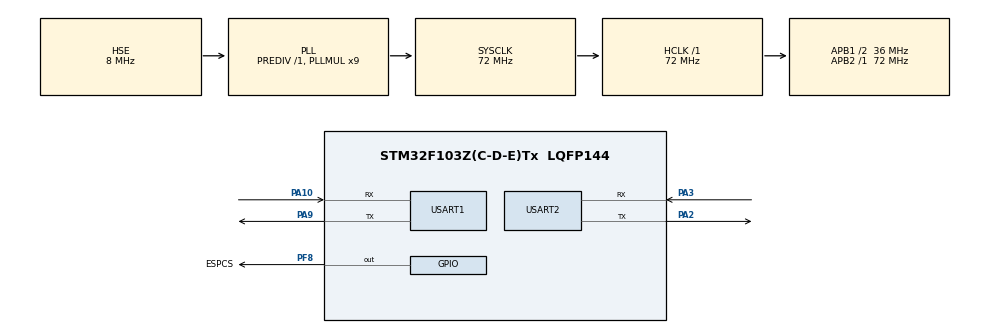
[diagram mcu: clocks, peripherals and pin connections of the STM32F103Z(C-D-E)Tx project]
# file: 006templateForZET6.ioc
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Mcu.Family=STM32F1
Mcu.Name=STM32F103Z(C-D-E)Tx
Mcu.Package=LQFP144
NVIC.PriorityGroup=NVIC_PRIORITYGROUP_4
NVIC.USART2_IRQn=true\:0\:0\:false\:false\:true\:true\:true\:true
OSC_IN.Mode=HSE-External-Oscillator
OSC_IN.Signal=RCC_OSC_IN
OSC_OUT.Mode=HSE-External-Oscillator
OSC_OUT.Signal=RCC_OSC_OUT
PA10.Mode=Asynchronous
PA10.Signal=USART1_RX
PA13.Mode=Serial_Wire
PA13.Signal=SYS_JTMS-SWDIO
PA14.Mode=Serial_Wire
PA14.Signal=SYS_JTCK-SWCLK
PA2.Mode=Asynchronous
PA2.Signal=USART2_TX
PA3.Mode=Asynchronous
PA3.Signal=USART2_RX
PA9.Mode=Asynchronous
PA9.Signal=USART1_TX
PC14-OSC32_IN.Mode=LSE-External-Oscillator
PC14-OSC32_IN.Signal=RCC_OSC32_IN
PC15-OSC32_OUT.Mode=LSE-External-Oscillator
PC15-OSC32_OUT.Signal=RCC_OSC32_OUT
PF8.GPIO_Label=ESPCS
PF8.GPIO_PuPd=GPIO_PULLUP
PF8.PinState=GPIO_PIN_SET
PF8.Signal=GPIO_Output
ProjectManager.HeapSize=0x200
ProjectManager.StackSize=0x400
ProjectManager.TargetToolchain=MDK-ARM V5.32
RCC.AHBFreq_Value=72000000
RCC.APB1CLKDivider=RCC_HCLK_DIV2
RCC.APB1Freq_Value=36000000
RCC.APB1TimFreq_Value=72000000
RCC.APB2Freq_Value=72000000
RCC.APB2TimFreq_Value=72000000
RCC.HCLKFreq_Value=72000000
RCC.PLLMUL=RCC_PLL_MUL9
RCC.PLLSourceVirtual=RCC_PLLSOURCE_HSE
RCC.SYSCLKFreq_VALUE=72000000
RCC.SYSCLKSource=RCC_SYSCLKSOURCE_PLLCLK
RCC.USBFreq_Value=72000000
USART1.VirtualMode=VM_ASYNC
USART2.VirtualMode=VM_ASYNC
board=custom

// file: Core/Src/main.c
/* USER CODE BEGIN Header */
/**
 ******************************************************************************
 * @file           : main.c
 * @brief          : Main program body
 ******************************************************************************
 * @attention
 *
 * Copyright (c) 2025 STMicroelectronics.
 * All rights reserved.
 *
 * This software is licensed under terms that can be found in the LICENSE file
 * in the root directory of this software component.
 * If no LICENSE file comes with this software, it is provided AS-IS.
 *
 ******************************************************************************
 */
/* USER CODE END Header */
#include "main.h"
#include "usart.h"
#include "gpio.h"

/* USER CODE BEGIN Includes */
#include "esp8266.h"
#include <stdio.h>
#include <string.h>
/* USER CODE END Includes */

void SystemClock_Config(void);

/* USER CODE BEGIN 0 */
// 定义存储天气数据的结构体
struct WeatherData {
  char weather[20];
  char temperature[10];
  char time[20];
};

// 辅助函数：查找 JSON 键的位置
char* find_key_position(char* json, const char* key) {
  char* key_start = strstr(json, key);
  if (!key_start) return NULL;
  return strchr(key_start, ':') + 1; // 定位到值的位置
}

void parse_weather_json(char* json, struct WeatherData* result) {
  // 解析天气
  char* weather_pos = find_key_position(json, "\"text\"");
  if (weather_pos) {
      sscanf(weather_pos, "\"%19[^\"]\"", result->weather);
  }

  // 解析温度
  char* temp_pos = find_key_position(json, "\"temperature\"");
  if (temp_pos) {
      sscanf(temp_pos, "\"%9[^\"]\"", result->temperature);
  }

  // 解析时间（需要处理时区）
  char* time_pos = find_key_position(json, "\"last_update\"");
  if (time_pos) {
      char full_time[30];
      sscanf(time_pos, "\"%29[^\"]\"", full_time);

      // 去除时区部分：将 2025-04-16T10:37:24+08:00 → 2025-04-16 10:37:24
      char* t_pos = strchr(full_time, 'T');
      char* plus_pos = strchr(full_time, '+');
      if (t_pos && plus_pos) {
          *t_pos = ' ';
          *plus_pos = '\0';
          strncpy(result->time, full_time, 19);
          result->time[19] = '\0';
      }
  }
}
/* USER CODE END 0 */

int main(void)
{

  /* MCU Configuration--------------------------------------------------------*/

  /* Reset of all peripherals, Initializes the Flash interface and the Systick. */
  HAL_Init();

  /* Configure the system clock */
  SystemClock_Config();

  /* Initialize all configured peripherals */
  MX_GPIO_Init();
  MX_USART1_UART_Init();
  MX_USART2_UART_Init();
  /* USER CODE BEGIN 2 */
  char json[] = "{\"results\":[{\"location\":{\"id\":\"WS17E8Y5G0RU\",\"name\":\"Huizhou\",\"country\":\"CN\",\"path\":\"Huizhou,Huizhou,Guangdong,China\",\"timezone\":\"Asia/Shanghai\",\"timezone_offset\":\"+08:00\"},\"now\":{\"text\":\"Cloudy\",\"code\":\"4\",\"temperature\":\"25\"},\"last_update\":\"2025-04-16T10:37:24+08:00\"}]}";

    struct WeatherData weather;
    memset(&weather, 0, sizeof(weather));

    parse_weather_json(json, &weather);

    printf("天气: %s\n", weather.weather);
    printf("温度: %s\n", weather.temperature);
    printf("时间: %s\n", weather.time);
  //espSendDatas(1);
  /* USER CODE END 2 */

  /* Infinite loop */
  while (1)
  {

  }
}

void SystemClock_Config(void)
{
  RCC_OscInitTypeDef RCC_OscInitStruct = {0};
  RCC_ClkInitTypeDef RCC_ClkInitStruct = {0};

  /** Initializes the RCC Oscillators according to the specified parameters
  * in the RCC_OscInitTypeDef structure.
  */
  RCC_OscInitStruct.OscillatorType = RCC_OSCILLATORTYPE_HSE;
  RCC_OscInitStruct.HSEState = RCC_HSE_ON;
  RCC_OscInitStruct.HSEPredivValue = RCC_HSE_PREDIV_DIV1;
  RCC_OscInitStruct.HSIState = RCC_HSI_ON;
  RCC_OscInitStruct.PLL.PLLState = RCC_PLL_ON;
  RCC_OscInitStruct.PLL.PLLSource = RCC_PLLSOURCE_HSE;
  RCC_OscInitStruct.PLL.PLLMUL = RCC_PLL_MUL9;
  if (HAL_RCC_OscConfig(&RCC_OscInitStruct) != HAL_OK)
  {
    Error_Handler();
  }

  /** Initializes the CPU, AHB and APB buses clocks
  */
  RCC_ClkInitStruct.ClockType = RCC_CLOCKTYPE_HCLK|RCC_CLOCKTYPE_SYSCLK
                              |RCC_CLOCKTYPE_PCLK1|RCC_CLOCKTYPE_PCLK2;
  RCC_ClkInitStruct.SYSCLKSource = RCC_SYSCLKSOURCE_PLLCLK;
  RCC_ClkInitStruct.AHBCLKDivider = RCC_SYSCLK_DIV1;
  RCC_ClkInitStruct.APB1CLKDivider = RCC_HCLK_DIV2;
  RCC_ClkInitStruct.APB2CLKDivider = RCC_HCLK_DIV1;

  if (HAL_RCC_ClockConfig(&RCC_ClkInitStruct, FLASH_LATENCY_2) != HAL_OK)
  {
    Error_Handler();
  }
}

void Error_Handler(void)
{
  __disable_irq();
  while (1)
  {
  }
}
